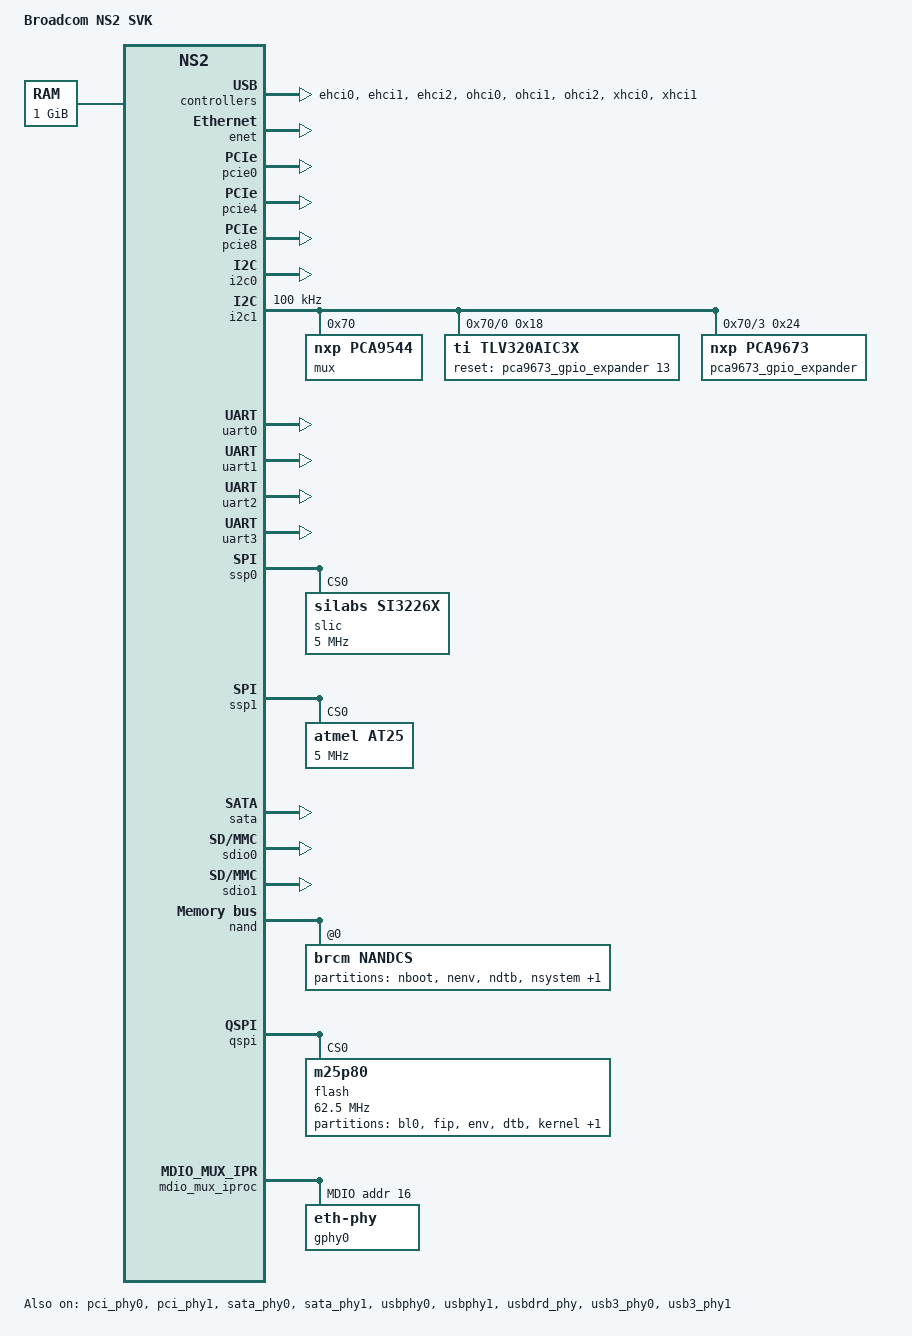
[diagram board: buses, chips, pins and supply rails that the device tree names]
/*
 *  BSD LICENSE
 *
 *  Copyright(c) 2015 Broadcom Corporation.  All rights reserved.
 *
 *  Redistribution and use in source and binary forms, with or without
 *  modification, are permitted provided that the following conditions
 *  are met:
 *
 *    * Redistributions of source code must retain the above copyright
 *      notice, this list of conditions and the following disclaimer.
 *    * Redistributions in binary form must reproduce the above copyright
 *      notice, this list of conditions and the following disclaimer in
 *      the documentation and/or other materials provided with the
 *      distribution.
 *    * Neither the name of Broadcom Corporation nor the names of its
 *      contributors may be used to endorse or promote products derived
 *      from this software without specific prior written permission.
 *
 *  THIS SOFTWARE IS PROVIDED BY THE COPYRIGHT HOLDERS AND CONTRIBUTORS
 *  "AS IS" AND ANY EXPRESS OR IMPLIED WARRANTIES, INCLUDING, BUT NOT
 *  LIMITED TO, THE IMPLIED WARRANTIES OF MERCHANTABILITY AND FITNESS FOR
 *  A PARTICULAR PURPOSE ARE DISCLAIMED. IN NO EVENT SHALL THE COPYRIGHT
 *  OWNER OR CONTRIBUTORS BE LIABLE FOR ANY DIRECT, INDIRECT, INCIDENTAL,
 *  SPECIAL, EXEMPLARY, OR CONSEQUENTIAL DAMAGES (INCLUDING, BUT NOT
 *  LIMITED TO, PROCUREMENT OF SUBSTITUTE GOODS OR SERVICES; LOSS OF USE,
 *  DATA, OR PROFITS; OR BUSINESS INTERRUPTION) HOWEVER CAUSED AND ON ANY
 *  THEORY OF LIABILITY, WHETHER IN CONTRACT, STRICT LIABILITY, OR TORT
 *  (INCLUDING NEGLIGENCE OR OTHERWISE) ARISING IN ANY WAY OUT OF THE USE
 * OF THIS SOFTWARE, EVEN IF ADVISED OF THE POSSIBILITY OF SUCH DAMAGE.
 */

/dts-v1/;

#include "ns2.dtsi"

/ {
	model = "Broadcom NS2 SVK";
	compatible = "brcm,ns2-svk", "brcm,ns2";

	aliases {
		serial0 = &uart3;
		serial1 = &uart0;
		serial2 = &uart1;
		serial3 = &uart2;
	};

	chosen {
		stdout-path = "serial0:115200n8";
		bootargs = "earlycon=uart8250,mmio32,0x66130000";
	};

	memory {
		device_type = "memory";
		reg = <0x000000000 0x80000000 0x00000000 0x40000000>;
	};
};

&ehci0 {
	status = "ok";
};

&ehci1 {
	status = "ok";
};

&ehci2 {
	status = "ok";
};

&enet {
	status = "ok";
};

&pci_phy0 {
	status = "ok";
};

&pci_phy1 {
	status = "ok";
};

&pcie0 {
	status = "ok";
};

&pcie4 {
	status = "ok";
};

&pcie8 {
	status = "ok";
};

&i2c0 {
	status = "ok";
};

&i2c1 {
	clock-frequency = <100000>;
	status = "okay";
	mux@70 {
		compatible = "nxp,pca9544";
		#address-cells = <1>;
		#size-cells = <0>;
		reg = <0x70>;

		i2c@0 {
			#address-cells = <1>;
			#size-cells = <0>;
			reg = <0>;

			tlv320aic3x: tlv320aic3x@18 {
				compatible = "ti,tlv320aic3x";
				reg = <0x18>;
				ai3x-micbias-vg = <2>;
				gpio-reset = <&pca9673_gpio_expander 13 0>;
				status = "okay";
			};
		};

		i2c@3 {
			#address-cells = <1>;
			#size-cells = <0>;
			reg = <3>;
			pca9673_gpio_expander: gpio@24 {
				compatible = "nxp,pca9673";
				reg = <0x24>;
				#gpio-cells = <2>;
				gpio-controller;
				status = "okay";
			};
		};
	};
};
&uart0 {
	status = "ok";
};

&uart1 {
	status = "ok";
};

&uart2 {
	status = "ok";
};

&uart3 {
	status = "ok";
};

&ssp0 {
	status = "ok";

	slic@0 {
		compatible = "silabs,si3226x";
		reg = <0>;
		spi-max-frequency = <5000000>;
		spi-cpha = <1>;
		spi-cpol = <1>;
		pl022,hierarchy = <0>;
		pl022,interface = <0>;
		pl022,slave-tx-disable = <0>;
		pl022,com-mode = <0>;
		pl022,rx-level-trig = <1>;
		pl022,tx-level-trig = <1>;
		pl022,ctrl-len = <11>;
		pl022,wait-state = <0>;
		pl022,duplex = <0>;
	};
};

&ssp1 {
	status = "ok";

	at25@0 {
		compatible = "atmel,at25";
		reg = <0>;
		spi-max-frequency = <5000000>;
		at25,byte-len = <0x8000>;
		at25,addr-mode = <2>;
		at25,page-size = <64>;
		spi-cpha = <1>;
		spi-cpol = <1>;
		pl022,hierarchy = <0>;
		pl022,interface = <0>;
		pl022,slave-tx-disable = <0>;
		pl022,com-mode = <0>;
		pl022,rx-level-trig = <1>;
		pl022,tx-level-trig = <1>;
		pl022,ctrl-len = <11>;
		pl022,wait-state = <0>;
		pl022,duplex = <0>;
	};
};

&pinctrl {
	pinctrl-names = "default";
	pinctrl-0 = <&nand_sel  &usb2_sel>;
	nand_sel: nand_sel {
		function = "nand";
		groups = "nand_grp";
	};

	usb2_sel: usb2_sel {
		pins = "usb2_presence_indication";
		bias-pull-up;
	};
};

&ohci0 {
	status = "ok";
};

&ohci1 {
	status = "ok";
};

&ohci2 {
	status = "ok";
};

&sata_phy0 {
	status = "ok";
};

&sata_phy1 {
	status = "ok";
};

&sata {
	status = "ok";
};

&sdio0 {
	status = "ok";
};

&sdio1 {
	status = "ok";
};

&nand {
	nandcs@0 {
		compatible = "brcm,nandcs";
		reg = <0>;
		nand-ecc-mode = "hw";
		nand-ecc-strength = <8>;
		nand-ecc-step-size = <512>;
		nand-bus-width = <16>;
		brcm,nand-oob-sector-size = <16>;
		#address-cells = <1>;
		#size-cells = <1>;

		partition@0 {
			label = "nboot";
			reg = <0x00000000 0x00280000>; /*  2.5MB */
			read-only;
		};

		partition@280000 {
			label = "nenv";
			reg = <0x00280000 0x00040000>; /* 0.25MB */
			read-only;
		};

		partition@2c0000 {
			label = "ndtb";
			reg = <0x002c0000 0x00040000>; /* 0.25MB */
			read-only;
		};

		partition@300000 {
			label = "nsystem";
			reg = <0x00300000 0x03d00000>; /*   61MB */
			read-only;
		};

		partition@4000000 {
			label = "nrootfs";
			reg = <0x04000000 0x3c000000>; /*  960MB */
		};
	};
};

&qspi {
	flash: m25p80@0 {
		#address-cells = <1>;
		#size-cells = <1>;
		compatible = "m25p80";
		spi-max-frequency = <62500000>;
		m25p,default-addr-width = <3>;
		reg = <0x0 0x0>;

		partition@0 {
			label = "bl0";
			reg = <0x00000000 0x00080000>; /*  512KB */
		};

		partition@80000 {
			label = "fip";
			reg = <0x00080000 0x00150000>; /* 1344KB */
		};

		partition@1d0000 {
			label = "env";
			reg = <0x001d0000 0x00020000>;/*  128KB */
		};

		partition@1f0000 {
			label = "dtb";
			reg = <0x001f0000 0x00010000>; /*   64KB */
		};

		partition@200000 {
			label = "kernel";
			reg = <0x00200000 0x00e00000>; /*   14MB */
		};

		partition@1000000 {
			label = "rootfs";
			reg = <0x01000000 0x01000000>; /*   16MB */
		};
	};
};


&mdio_mux_iproc {
	mdio@10 {
		gphy0: eth-phy@10 {
			enet-phy-lane-swap;
			reg = <0x10>;
		};
	};
};

&usbphy0 {
	status = "ok";
};

&usbphy1 {
	status = "ok";
};

&usbdrd_phy {
	status = "ok";
};

&usb3_phy0 {
	status = "ok";
};

&usb3_phy1 {
	status = "ok";
};

&xhci0 {
	status = "ok";
};

&xhci1 {
	status = "ok";
};
